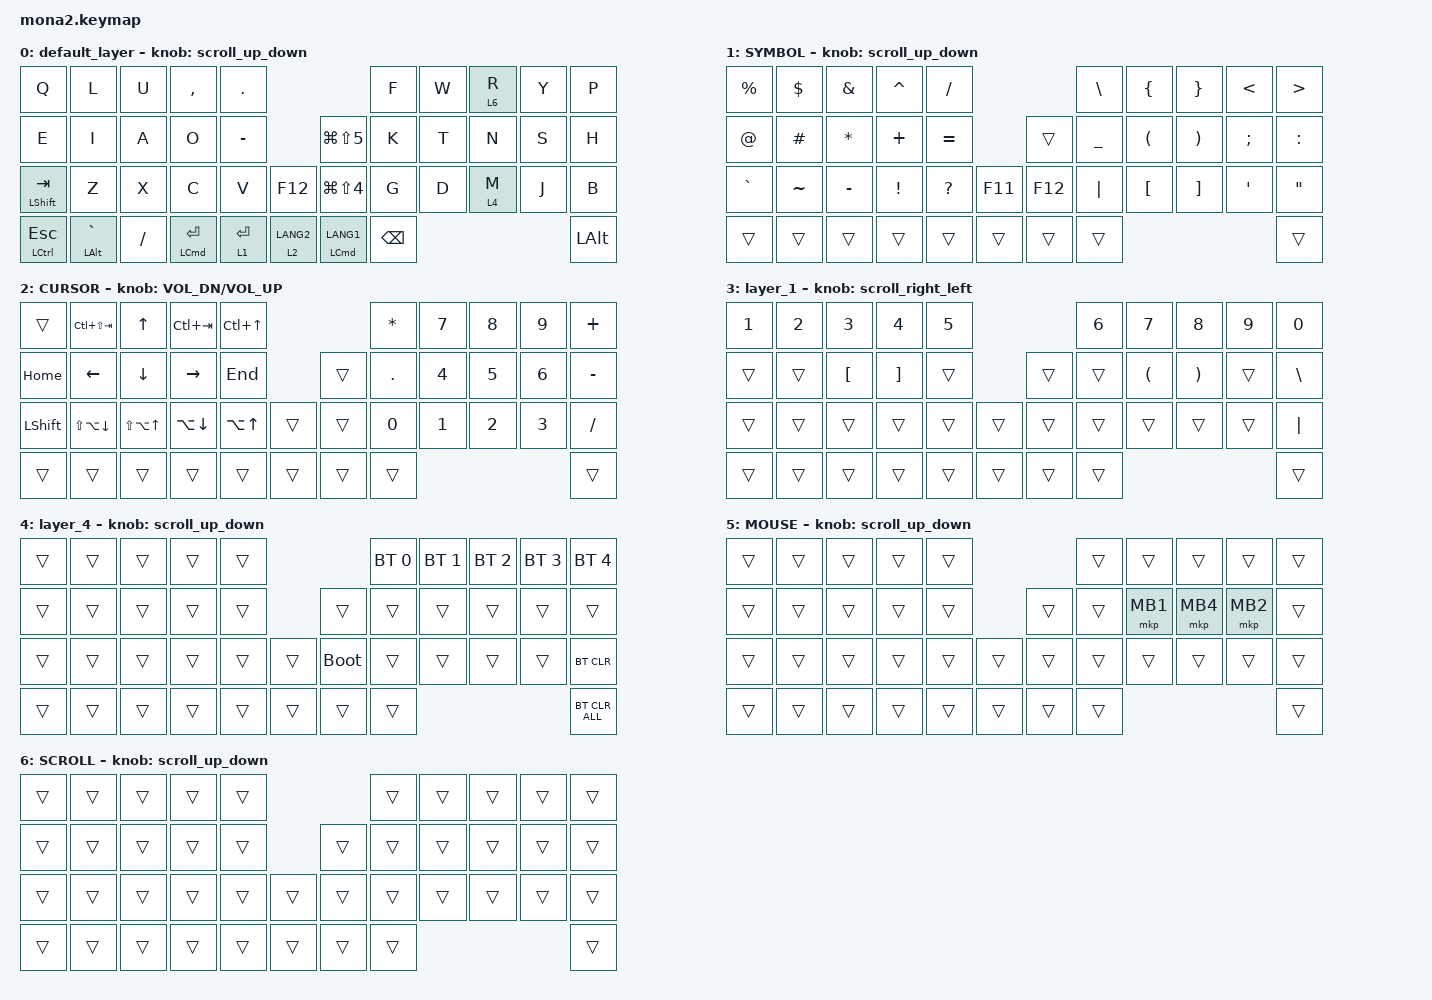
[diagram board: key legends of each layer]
#include <input/processors.dtsi>
#include <dt-bindings/zmk/input_transform.h>
#include <zephyr/dt-bindings/input/input-event-codes.h>
#include <behaviors.dtsi>
#include <dt-bindings/zmk/bt.h>
#include <dt-bindings/zmk/keys.h>
#include <dt-bindings/zmk/pointing.h>

#define ZMK_POINTING_DEFAULT_SCRL_VAL 100
#define MOUSE 5
#define SCROLL 6

&mt {
    flavor = "balanced";
    quick-tap-ms = <0>;
};

&lt {
    quick-tap-ms = <300>;
    flavor = "balanced";
};

/ {
    combos {
        compatible = "zmk,combos";

        layer4_ESC {
            bindings = <&lt 4 ESC>;
            key-positions = <39 38>;
        };

        tab {
            bindings = <&kp TAB>;
            key-positions = <11 12>;
        };
    };

    macros {
        to_layer_0: to_layer_0 {
            compatible = "zmk,behavior-macro-one-param";
            #binding-cells = <1>;
            bindings = <&to 0 &macro_param_1to1 &kp MACRO_PLACEHOLDER>;
            label = "TO_LAYER_0";
        };
    };

    behaviors {
        lt_to_layer_0: lt_to_layer_0 {
            compatible = "zmk,behavior-hold-tap";
            label = "LAYER_TAP_TO_0";
            bindings = <&mo>, <&to_layer_0>;

            #binding-cells = <2>;
            tapping-term-ms = <200>;
        };

        scroll_up_down: mouse_wheel_up_down {
            compatible = "zmk,behavior-sensor-rotate";
            #sensor-binding-cells = <0>;
            bindings = <&msc SCRL_DOWN>, <&msc SCRL_UP>;

            tap-ms = <20>;
        };

        scroll_right_left: mouse_wheel_right_left {
            compatible = "zmk,behavior-sensor-rotate";
            #sensor-binding-cells = <0>;
            bindings = <&msc SCRL_LEFT>, <&msc SCRL_RIGHT>;

            tap-ms = <20>;
        };
    };

    keymap {
        compatible = "zmk,keymap";

        default_layer {
            bindings = <
&kp Q               &kp L               &kp U      &kp COMMA                &kp PERIOD                                                     &kp F          &kp W  &lt 6 R  &kp Y  &kp P
&kp E               &kp I               &kp A      &kp O                    &kp MINUS                              &kp LG(LS(N5))          &kp K          &kp T  &kp N    &kp S  &kp H
&mt LEFT_SHIFT TAB  &kp Z               &kp X      &kp C                    &kp V        &kp F12                   &kp LG(LS(N4))          &kp G          &kp D  &lt 4 M  &kp J  &kp B
&mt LCTRL ESCAPE    &mt LEFT_ALT GRAVE  &kp SLASH  &mt LEFT_COMMAND RETURN  &lt 1 ENTER  &lt_to_layer_0 2 LANG2    &mt LEFT_COMMAND LANG1  &kp BACKSPACE                         &kp LEFT_ALT
            >;

            sensor-bindings = <&scroll_up_down>;
        };

        SYMBOL {
            bindings = <
&kp PERCENT  &kp DOLLAR  &kp AMPERSAND  &kp CARET  &kp SLASH                         &kp BACKSLASH  &kp LEFT_BRACE        &kp RIGHT_BRACE        &kp LESS_THAN     &kp GREATER_THAN
&kp AT       &kp HASH    &kp ASTERISK   &kp PLUS   &kp EQUAL                &trans   &kp UNDER      &kp LEFT_PARENTHESIS  &kp RIGHT_PARENTHESIS  &kp SEMI          &kp COLON
&kp GRAVE    &kp TILDE   &kp MINUS      &kp EXCL   &kp QUESTION  &kp F11    &kp F12  &kp PIPE       &kp LBKT              &kp RBKT               &kp SINGLE_QUOTE  &kp DOUBLE_QUOTES
&trans       &trans      &trans         &trans     &trans        &trans     &trans   &trans                                                                        &trans
            >;

            sensor-bindings = <&scroll_up_down>;
        };

        CURSOR {
            bindings = <
&trans          &kp LC(LS(TAB))   &kp UP          &kp LC(TAB)   &kp LC(UP)                    &kp ASTERISK  &kp NUMBER_7  &kp NUMBER_8  &kp NUMBER_9  &kp PLUS
&kp HOME        &kp LEFT          &kp DOWN        &kp RIGHT     &kp END               &trans  &kp PERIOD    &kp NUMBER_4  &kp NUMBER_5  &kp NUMBER_6  &kp MINUS
&kp LEFT_SHIFT  &kp LS(LA(DOWN))  &kp LS(LA(UP))  &kp LA(DOWN)  &kp LA(UP)  &trans    &trans  &kp NUMBER_0  &kp NUMBER_1  &kp NUMBER_2  &kp NUMBER_3  &kp SLASH
&trans          &trans            &trans          &trans        &trans      &trans    &trans  &trans                                                  &trans
            >;

            sensor-bindings = <&inc_dec_kp C_VOL_DN C_VOL_UP>;
        };

        layer_1 {
            bindings = <
&kp NUMBER_1  &kp NUMBER_2  &kp NUMBER_3      &kp NUMBER_4       &kp NUMBER_5                    &kp NUMBER_6  &kp NUMBER_7          &kp NUMBER_8           &kp NUMBER_9  &kp NUMBER_0
&trans        &trans        &kp LEFT_BRACKET  &kp RIGHT_BRACKET  &trans                  &trans  &trans        &kp LEFT_PARENTHESIS  &kp RIGHT_PARENTHESIS  &trans        &kp BACKSLASH
&trans        &trans        &trans            &trans             &trans        &trans    &trans  &trans        &trans                &trans                 &trans        &kp PIPE
&trans        &trans        &trans            &trans             &trans        &trans    &trans  &trans                                                                   &trans
            >;

            sensor-bindings = <&scroll_right_left>;
        };

        layer_4 {
            bindings = <
&trans  &trans  &trans  &trans  &trans                         &bt BT_SEL 0  &bt BT_SEL 1  &bt BT_SEL 2  &bt BT_SEL 3  &bt BT_SEL 4
&trans  &trans  &trans  &trans  &trans            &trans       &trans        &trans        &trans        &trans        &trans
&trans  &trans  &trans  &trans  &trans  &trans    &bootloader  &trans        &trans        &trans        &trans        &bt BT_CLR
&trans  &trans  &trans  &trans  &trans  &trans    &trans       &trans                                                  &bt BT_CLR_ALL
            >;

            sensor-bindings = <&scroll_up_down>;
        };

        MOUSE {
            bindings = <
&trans  &trans  &trans  &trans  &trans                    &trans  &trans    &trans    &trans    &trans
&trans  &trans  &trans  &trans  &trans            &trans  &trans  &mkp MB1  &mkp MB4  &mkp MB2  &trans
&trans  &trans  &trans  &trans  &trans  &trans    &trans  &trans  &trans    &trans    &trans    &trans
&trans  &trans  &trans  &trans  &trans  &trans    &trans  &trans                                &trans
            >;

            sensor-bindings = <&scroll_up_down>;
        };

        SCROLL {
            bindings = <
&trans  &trans  &trans  &trans  &trans                    &trans  &trans  &trans  &trans  &trans
&trans  &trans  &trans  &trans  &trans            &trans  &trans  &trans  &trans  &trans  &trans
&trans  &trans  &trans  &trans  &trans  &trans    &trans  &trans  &trans  &trans  &trans  &trans
&trans  &trans  &trans  &trans  &trans  &trans    &trans  &trans                          &trans
            >;

            sensor-bindings = <&scroll_up_down>;
        };
    };
};
